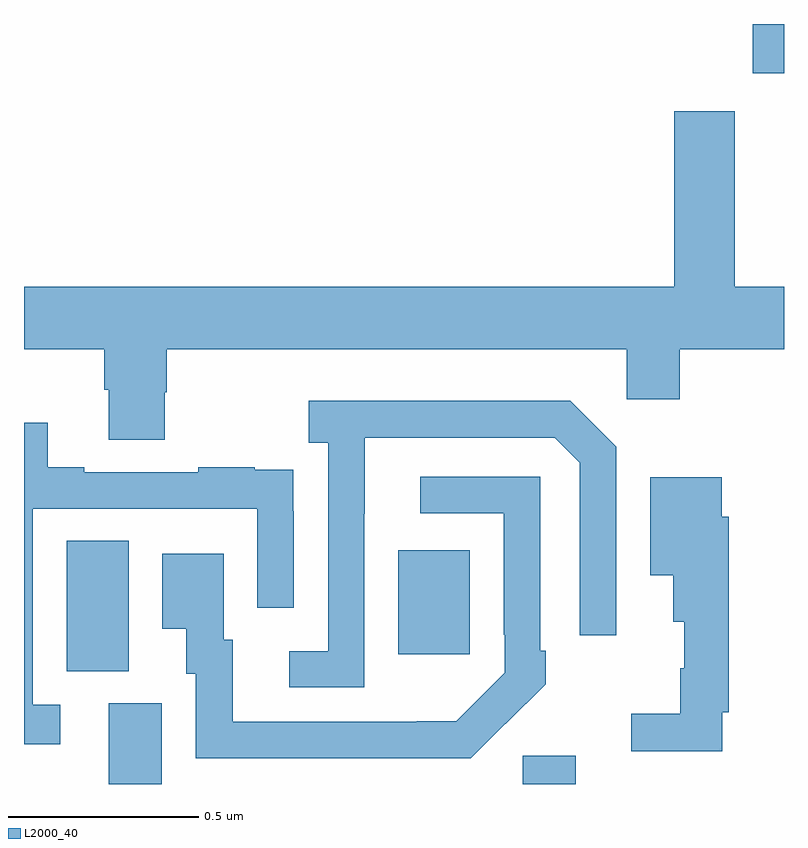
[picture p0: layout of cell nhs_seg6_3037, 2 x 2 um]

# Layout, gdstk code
import gdstk
lib = gdstk.Library(unit=1e-6, precision=1e-09)
def R(c, l, rs):  # rectangles x0, y0, x1, y1
    for r in rs: c.add(gdstk.rectangle(r[:2], r[2:], *l))
def P(c, l, *ps):  # polygons
    for p in ps: c.add(gdstk.Polygon(p, *l))
L2000_40 = (2000, 40)

nhs_seg6_3037 = lib.new_cell('nhs_seg6_3037')
R(nhs_seg6_3037, L2000_40, [(151.223,971.5,151.363,971.712), (152.313,971.5,152.452,971.574), (151.112,971.797,151.276,972.14), (151.985,971.841,152.173,972.115), (152.918,973.37,153,973.5)])
P(nhs_seg6_3037, L2000_40, [(151.371,972.531),(151.376,972.531),(151.376,972.644),(152.586,972.644),(152.586,972.513),(152.725,972.513),(152.725,972.644),(153,972.644),(153,972.808),(152.871,972.808),(152.871,973.27),(152.711,973.27),(152.711,972.808),(151,972.808),(151,972.644),(151.211,972.644),(151.211,972.538),(151.223,972.538),(151.223,972.406),(151.371,972.406)],
  [(151.896,972.211),(151.897,972.211),(151.897,972.411),(152.397,972.411),(152.463,972.345),(152.463,971.892),(152.559,971.892),(152.559,972.387),(152.438,972.508),(151.749,972.508),(151.749,972.398),(151.8,972.398),(151.8,971.85),(151.698,971.85),(151.698,971.754),(151.896,971.754)],
  [(151.096,971.709),(151.023,971.709),(151.023,972.225),(151.614,972.225),(151.614,971.964),(151.71,971.964),(151.71,972.218),(151.709,972.218),(151.709,972.327),(151.607,972.327),(151.607,972.334),(151.459,972.334),(151.459,972.321),(151.159,972.321),(151.159,972.334),(151.063,972.334),(151.063,972.451),(151,972.451),(151,971.604),(151.096,971.604)],
  [(152.267,971.659),(152.268,971.658),(152.373,971.763),(152.373,971.851),(152.358,971.851),(152.358,972.309),(152.043,972.309),(152.043,972.213),(152.262,972.213),(152.262,971.893),(152.265,971.893),(152.265,971.793),(152.137,971.665),(152.033,971.665),(152.033,971.664),(151.549,971.664),(151.549,971.88),(151.525,971.88),(151.525,972.106),(151.364,972.106),(151.364,971.909),(151.427,971.909),(151.427,971.79),(151.452,971.79),(151.452,971.568),(152.176,971.568)],
  [(152.837,971.689),(152.855,971.689),(152.855,972.203),(152.836,972.203),(152.836,972.307),(152.648,972.307),(152.648,972.05),(152.708,972.05),(152.708,971.927),(152.738,971.927),(152.738,971.805),(152.727,971.805),(152.727,971.685),(152.598,971.685),(152.598,971.586),(152.837,971.586)])

lib.write_gds('nhs_seg6_3037.gds')
